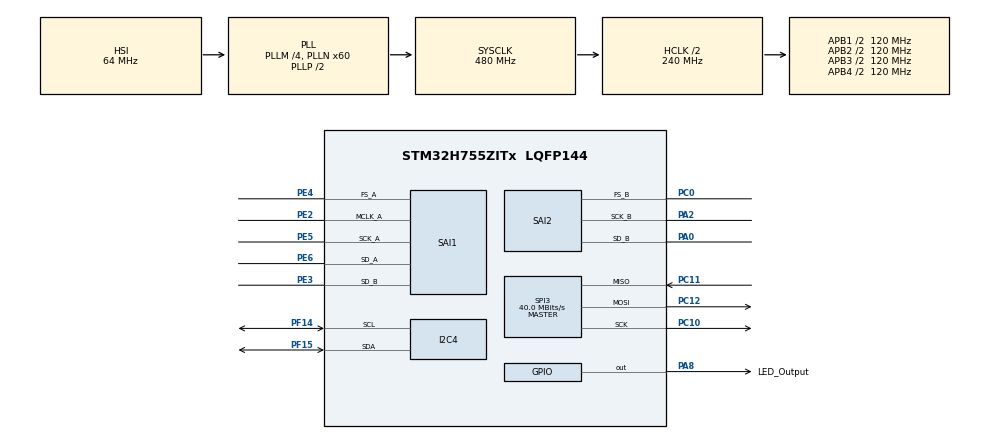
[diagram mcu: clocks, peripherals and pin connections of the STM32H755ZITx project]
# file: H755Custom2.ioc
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CORTEX_M7.default_mode_Activation=1
CortexM4.IPs=BDMA,CORTEX_M4\:I,DMA,FATFS_M4\:I,FREERTOS_M4\:I,GPIO,IWDG2\:I,MDMA,NVIC2\:I,OPENAMP_M4\:I,PDM2PCM_M4\:I,PWR,RCC,RESMGR_UTILITY,SYS_M4\:I,USB_DEVICE_M4\:I,USB_HOST_M4\:I,VREFBUF,WWDG2\:I
CortexM7.IPs=BDMA\:I,CORTEX_M7\:I,DMA\:I,FATFS_M7\:I,FREERTOS_M7\:I,GPIO\:I,IWDG1\:I,MDMA\:I,NVIC1\:I,OPENAMP_M7\:I,PDM2PCM_M7\:I,PWR\:I,RCC\:I,RESMGR_UTILITY\:I,SYS\:I,USB_DEVICE_M7\:I,USB_HOST_M7\:I,VREFBUF\:I,WWDG1\:I,MEMORYMAP\:I,DEBUG\:I,I2C4\:I,SAI1\:I,SPI3\:I,SAI2\:I
CortexM7.Pins=PA8
Dma.Request0=SAI1_B
Dma.Request1=SAI2_B
Dma.Request2=SAI1_A
Dma.SAI1_A.2.Direction=DMA_MEMORY_TO_PERIPH
Dma.SAI1_A.2.EventEnable=DISABLE
Dma.SAI1_A.2.FIFOMode=DMA_FIFOMODE_DISABLE
Dma.SAI1_A.2.Instance=DMA1_Stream2
Dma.SAI1_A.2.MemDataAlignment=DMA_MDATAALIGN_WORD
Dma.SAI1_A.2.MemInc=DMA_MINC_ENABLE
Dma.SAI1_A.2.Mode=DMA_CIRCULAR
Dma.SAI1_A.2.PeriphDataAlignment=DMA_PDATAALIGN_WORD
Dma.SAI1_A.2.PeriphInc=DMA_PINC_DISABLE
Dma.SAI1_A.2.Polarity=HAL_DMAMUX_REQ_GEN_RISING
Dma.SAI1_A.2.Priority=DMA_PRIORITY_HIGH
Dma.SAI1_A.2.RequestNumber=1
Dma.SAI1_A.2.SignalID=NONE
Dma.SAI1_A.2.SyncEnable=DISABLE
Dma.SAI1_A.2.SyncPolarity=HAL_DMAMUX_SYNC_NO_EVENT
Dma.SAI1_A.2.SyncRequestNumber=1
Dma.SAI1_A.2.SyncSignalID=NONE
Dma.SAI1_B.0.Direction=DMA_PERIPH_TO_MEMORY
Dma.SAI1_B.0.EventEnable=DISABLE
Dma.SAI1_B.0.FIFOMode=DMA_FIFOMODE_DISABLE
Dma.SAI1_B.0.Instance=DMA1_Stream0
Dma.SAI1_B.0.MemDataAlignment=DMA_MDATAALIGN_WORD
Dma.SAI1_B.0.MemInc=DMA_MINC_ENABLE
Dma.SAI1_B.0.Mode=DMA_CIRCULAR
Dma.SAI1_B.0.PeriphDataAlignment=DMA_PDATAALIGN_WORD
Dma.SAI1_B.0.PeriphInc=DMA_PINC_DISABLE
Dma.SAI1_B.0.Polarity=HAL_DMAMUX_REQ_GEN_RISING
Dma.SAI1_B.0.Priority=DMA_PRIORITY_HIGH
Dma.SAI1_B.0.RequestNumber=1
Dma.SAI1_B.0.SignalID=NONE
Dma.SAI1_B.0.SyncEnable=DISABLE
Dma.SAI1_B.0.SyncPolarity=HAL_DMAMUX_SYNC_NO_EVENT
Dma.SAI1_B.0.SyncRequestNumber=1
Dma.SAI1_B.0.SyncSignalID=NONE
Dma.SAI2_B.1.Direction=DMA_MEMORY_TO_PERIPH
Dma.SAI2_B.1.EventEnable=DISABLE
Dma.SAI2_B.1.FIFOMode=DMA_FIFOMODE_DISABLE
Dma.SAI2_B.1.Instance=DMA1_Stream1
Dma.SAI2_B.1.MemDataAlignment=DMA_MDATAALIGN_WORD
Dma.SAI2_B.1.MemInc=DMA_MINC_ENABLE
Dma.SAI2_B.1.Mode=DMA_CIRCULAR
Dma.SAI2_B.1.PeriphDataAlignment=DMA_PDATAALIGN_WORD
Dma.SAI2_B.1.PeriphInc=DMA_PINC_DISABLE
Dma.SAI2_B.1.Polarity=HAL_DMAMUX_REQ_GEN_RISING
Dma.SAI2_B.1.Priority=DMA_PRIORITY_HIGH
Dma.SAI2_B.1.RequestNumber=1
Dma.SAI2_B.1.SignalID=NONE
Dma.SAI2_B.1.SyncEnable=DISABLE
Dma.SAI2_B.1.SyncPolarity=HAL_DMAMUX_SYNC_NO_EVENT
Dma.SAI2_B.1.SyncRequestNumber=1
Dma.SAI2_B.1.SyncSignalID=NONE
I2C4.Timing=0x307075B1
Mcu.Family=STM32H7
Mcu.Name=STM32H755ZITx
Mcu.Package=LQFP144
NVIC1.DMA1_Stream0_IRQn=true\:0\:0\:false\:false\:true\:false\:true\:true
NVIC1.DMA1_Stream1_IRQn=true\:0\:0\:false\:false\:true\:false\:true\:true
NVIC1.DMA1_Stream2_IRQn=true\:0\:0\:false\:false\:true\:false\:true\:true
NVIC1.PriorityGroup=NVIC_PRIORITYGROUP_4
NVIC2.PriorityGroup=NVIC_PRIORITYGROUP_4
PA0.GPIO_Speed=GPIO_SPEED_FREQ_HIGH
PA0.Mode=SAI_B_Master
PA0.PinAttribute=CortexM7
PA0.Signal=SAI2_SD_B
PA13\ (JTMS/SWDIO).Mode=Trace_Asynchronous_SW
PA13\ (JTMS/SWDIO).PinAttribute=CortexM7
PA13\ (JTMS/SWDIO).Signal=DEBUG_JTMS-SWDIO
PA14\ (JTCK/SWCLK).Mode=Trace_Asynchronous_SW
PA14\ (JTCK/SWCLK).PinAttribute=CortexM7
PA14\ (JTCK/SWCLK).Signal=DEBUG_JTCK-SWCLK
PA2.GPIO_Speed=GPIO_SPEED_FREQ_HIGH
PA2.Mode=SAI_B_Master
PA2.PinAttribute=CortexM7
PA2.Signal=SAI2_SCK_B
PA8.GPIO_Label=LED_Output
PA8.PinAttribute=CortexM7
PA8.Signal=GPIO_Output
PB3\ (JTDO/TRACESWO).Mode=Trace_Asynchronous_SW
PB3\ (JTDO/TRACESWO).PinAttribute=CortexM7
PB3\ (JTDO/TRACESWO).Signal=DEBUG_JTDO-SWO
PC0.GPIO_Speed=GPIO_SPEED_FREQ_HIGH
PC0.Mode=SAI_B_Master
PC0.PinAttribute=CortexM7
PC0.Signal=SAI2_FS_B
PC10.Mode=Full_Duplex_Master
PC10.PinAttribute=CortexM7
PC10.Signal=SPI3_SCK
PC11.Mode=Full_Duplex_Master
PC11.PinAttribute=CortexM7
PC11.Signal=SPI3_MISO
PC12.Mode=Full_Duplex_Master
PC12.PinAttribute=CortexM7
PC12.Signal=SPI3_MOSI
PC14-OSC32_IN\ (OSC32_IN).Mode=LSE-External-Oscillator
PC14-OSC32_IN\ (OSC32_IN).PinAttribute=Free
PC14-OSC32_IN\ (OSC32_IN).Signal=RCC_OSC32_IN
PC15-OSC32_OUT\ (OSC32_OUT).Mode=LSE-External-Oscillator
PC15-OSC32_OUT\ (OSC32_OUT).PinAttribute=Free
PC15-OSC32_OUT\ (OSC32_OUT).Signal=RCC_OSC32_OUT
PE2.Mode=SAI_A_MasterWithClock
PE2.PinAttribute=CortexM7
PE2.Signal=SAI1_MCLK_A
PE3.Mode=SAI_B_SyncSlave
PE3.PinAttribute=CortexM7
PE3.Signal=SAI1_SD_B
PE4.Mode=SAI_A_MasterWithClock
PE4.PinAttribute=CortexM7
PE4.Signal=SAI1_FS_A
PE5.Mode=SAI_A_MasterWithClock
PE5.PinAttribute=CortexM7
PE5.Signal=SAI1_SCK_A
PE6.Mode=SAI_A_MasterWithClock
PE6.PinAttribute=CortexM7
PE6.Signal=SAI1_SD_A
PF14.GPIO_Pu=GPIO_PULLUP
PF14.GPIO_Speed=GPIO_SPEED_FREQ_HIGH
PF14.Mode=I2C
PF14.PinAttribute=CortexM7
PF14.Signal=I2C4_SCL
PF15.GPIO_Mode=GPIO_MODE_AF_OD
PF15.GPIO_Pu=GPIO_PULLUP
PF15.GPIO_Speed=GPIO_SPEED_FREQ_HIGH
PF15.Mode=I2C
PF15.PinAttribute=CortexM7
PF15.Signal=I2C4_SDA
PH0-OSC_IN\ (PH0).Mode=HSE-External-Oscillator
PH0-OSC_IN\ (PH0).PinAttribute=Free
PH0-OSC_IN\ (PH0).Signal=RCC_OSC_IN
PH1-OSC_OUT\ (PH1).Mode=HSE-External-Oscillator
PH1-OSC_OUT\ (PH1).PinAttribute=Free
PH1-OSC_OUT\ (PH1).Signal=RCC_OSC_OUT
ProjectManager.HeapSize=M4-0x200,M7-0x200
ProjectManager.StackSize=M4-0x400,M7-0x400
ProjectManager.TargetToolchain=STM32CubeIDE
RCC.ADCFreq_Value=12307692.307692308
RCC.APB1Freq_Value=120000000
RCC.APB2Freq_Value=120000000
RCC.APB3Freq_Value=120000000
RCC.APB4Freq_Value=120000000
RCC.CortexFreq_Value=480000000
RCC.D1PPRE=RCC_APB3_DIV2
RCC.D2PPRE1=RCC_APB1_DIV2
RCC.D2PPRE2=RCC_APB2_DIV2
RCC.D3PPRE=RCC_APB4_DIV2
RCC.DIVM1=4
RCC.DIVM2=4
RCC.DIVM3=4
RCC.DIVN1=60
RCC.DIVN2=60
RCC.DIVN3=10
RCC.DIVP2=78
RCC.HCLKFreq_Value=240000000
RCC.HPRE=RCC_HCLK_DIV2
RCC.HSE_VALUE=32000000
RCC.PLL2FRACN=0
RCC.PLLFRACN=0
RCC.SAI1CLockSelection=RCC_SAI1CLKSOURCE_PLL2
RCC.SAI23CLockSelection=RCC_SAI23CLKSOURCE_PLL2
RCC.SPI123CLockSelection=RCC_SPI123CLKSOURCE_PLL3
RCC.SYSCLKFreq_VALUE=480000000
RCC.SYSCLKSource=RCC_SYSCLKSOURCE_PLLCLK
RCC.USBFreq_Value=480000000
SAI1.ActiveFrameLength-SAI_A_MasterWithClock=128
SAI1.ActiveFrameLength-SAI_B_SyncSlave=128
SAI1.AudioFrequency-SAI_A_MasterWithClock=SAI_AUDIO_FREQUENCY_48K
SAI1.AudioMode-SAI_A_MasterWithClock=SAI_MODEMASTER_TX
SAI1.DataSize-SAI_A_MasterWithClock=SAI_DATASIZE_32
SAI1.DataSize-SAI_B_SyncSlave=SAI_DATASIZE_32
SAI1.ErrorAudioFreq-SAI_A_MasterWithClock=0.15 %
SAI1.FrameLength-SAI_A_MasterWithClock=256
SAI1.FrameLength-SAI_B_SyncSlave=256
SAI1.Instance-SAI_A_MasterWithClock=SAI$Index_Block_A
SAI1.Instance-SAI_B_SyncSlave=SAI$Index_Block_B
SAI1.MClockEnable-SAI_A_MasterWithClock=SAI_MASTERCLOCK_ENABLE
SAI1.MonoStereoMode-SAI_A_MasterWithClock=SAI_STEREOMODE
SAI1.RealAudioFreq-SAI_A_MasterWithClock=48.076 KHz
SAI1.SlotActive-SAI_A_MasterWithClock=0x0000FFFF
SAI1.SlotActive-SAI_B_SyncSlave=0x0000FFFF
SAI1.SlotNumber-SAI_A_MasterWithClock=8
SAI1.SlotNumber-SAI_B_SyncSlave=8
SAI1.VirtualMode-SAI_A_MasterWithClock=VM_MASTER
SAI1.VirtualMode-SAI_B_SyncSlave=VM_SLAVE
SAI1.VirtualSlotActive-SAI_A_MasterWithClock=SAI_SLOTACTIVE_ALL
SAI1.VirtualSlotActive-SAI_B_SyncSlave=SAI_SLOTACTIVE_ALL
SAI2.ActiveFrameLength-SAI_B_Master=16
SAI2.AudioFrequency-SAI_B_Master=SAI_AUDIO_FREQUENCY_48K
SAI2.DataSize-SAI_B_Master=SAI_DATASIZE_16
SAI2.ErrorAudioFreq-SAI_B_Master=0.15 %
SAI2.FSDefinition-SAI_B_Master=SAI_FS_CHANNEL_IDENTIFICATION
SAI2.FSPolarity-SAI_B_Master=SAI_FS_ACTIVE_HIGH
SAI2.FrameLength-SAI_B_Master=32
SAI2.Instance-SAI_B_Master=SAI$Index_Block_B
SAI2.MClockEnable-SAI_B_Master=SAI_MASTERCLOCK_DISABLE
SAI2.RealAudioFreq-SAI_B_Master=48.076 KHz
SAI2.SlotActive-SAI_B_Master=0x0000FFFF
SAI2.SlotNumber-SAI_B_Master=2
SAI2.VirtualMode-SAI_B_Master=VM_MASTER
SAI2.VirtualSlotActive-SAI_B_Master=SAI_SLOTACTIVE_ALL
SPI3.CalculateBaudRate=40.0 MBits/s
SPI3.Direction=SPI_DIRECTION_2LINES
SPI3.Mode=SPI_MODE_MASTER
SPI3.VirtualType=VM_MASTER
SYS.userName=SYS_M7
VP_MEMORYMAP_VS_MEMORYMAP.Mode=CurAppReg
VP_SYS_M4_VS_Systick.Mode=SysTick
board=custom

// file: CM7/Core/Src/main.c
/* USER CODE BEGIN Header */
/**
  ******************************************************************************
  * @file           : main.c
  * @brief          : Main program body
  ******************************************************************************
  * @attention
  *
  * Copyright (c) 2025 STMicroelectronics.
  * All rights reserved.
  *
  * This software is licensed under terms that can be found in the LICENSE file
  * in the root directory of this software component.
  * If no LICENSE file comes with this software, it is provided AS-IS.
  *
  ******************************************************************************
  */
/* USER CODE END Header */
#include "main.h"

/* USER CODE BEGIN Includes */
#include "stdio.h"

/* USER CODE END Includes */

/* USER CODE BEGIN PD */

#ifndef HSEM_ID_0
#define HSEM_ID_0 (0U) /* HW semaphore 0*/
#endif

#define PCM1865_Reg_Size 128
#define AUDIO_BUFFER_SIZE  256

#define PCM1865_I2C_ADDR   (0x4A << 1)   // Adjust this based on your hardware strap
#define PCM1865_I2C_ADDR_2   (0x4B << 1)   // Adjust this based on your hardware strap
#define SINE_SAMPLES 48

#define PCM1865_RESET               (0x00)
#define PCM1865_PGA_VAL_CH1_L       (0x01)
#define PCM1865_PGA_VAL_CH1_R       (0x02)
#define PCM1865_PGA_VAL_CH2_L       (0x03)
#define PCM1865_PGA_VAL_CH2_R       (0x04)
#define PCM1865_ADC2_IP_SEL_L       (0x08) // Select input to route to ADC2 left input.
#define PCM1865_ADC2_IP_SEL_R       (0x09) // Select input to route to ADC2 right input.
#define PCM1865_FMT                 (0x0B) // RX_WLEN, TDM_LRCLK_MODE, TX_WLEN, FMT
#define PCM1865_TDM_OSEL            (0x0C)
#define PCM1865_TX_TDM_OFFSET       (0x0D)
#define PCM1865_CLK_CFG0            (0x20) // Basic clock config.
#define PCM1865_PWR_STATE           (0x70) // Power down, Sleep, Standby

// Global buffer to capture ADC data from SAI
uint32_t audioRxBuffer[AUDIO_BUFFER_SIZE];
/* USER CODE END PD */

I2C_HandleTypeDef hi2c4;

SAI_HandleTypeDef hsai_BlockA1;
SAI_HandleTypeDef hsai_BlockB1;
SAI_HandleTypeDef hsai_BlockB2;
DMA_HandleTypeDef hdma_sai1_b;
DMA_HandleTypeDef hdma_sai1_a;
DMA_HandleTypeDef hdma_sai2_b;

SPI_HandleTypeDef hspi3;

void SystemClock_Config(void);
void PeriphCommonClock_Config(void);
static void MPU_Config(void);
static void MX_GPIO_Init(void);
static void MX_DMA_Init(void);
static void MX_I2C4_Init(void);
static void MX_SAI1_Init(void);
static void MX_SPI3_Init(void);
static void MX_SAI2_Init(void);

/* USER CODE BEGIN 0 */

int _write(int le, char *ptr, int len)
    {
    int DataIdx;
    for(DataIdx = 0; DataIdx < len; DataIdx++)
        {
        ITM_SendChar(*ptr++);
        }
    return len;
    }

// Stereo 16-bit, so total array size = SINE_SAMPLES * 2
int16_t sineTable[SINE_SAMPLES * 2];

void GenerateSineWave(void)
{
    float amplitude = 30000.0f;   // ~90% of int16 range
    float twoPi = 2.0f * (float)M_PI;
    float phaseIncrement = twoPi / (float)SINE_SAMPLES;

    for (int i = 0; i < SINE_SAMPLES; i++)
    {
        float angle = phaseIncrement * i;
        float sampleValue = sinf(angle) * amplitude;
        int16_t sample = (int16_t)(sampleValue);

        // Write same sample to Left and Right channels
        sineTable[i*2 + 0] = sample;  // Left
        sineTable[i*2 + 1] = sample;  // Right
//        printf("%i\r", sample);
    }
}

HAL_StatusTypeDef ADC_INIT() {
	HAL_StatusTypeDef status;

	uint8_t regRead1, regRead2;

	uint8_t reset = 0xFE;
	status = HAL_I2C_Mem_Write(&hi2c4, // reset
            PCM1865_I2C_ADDR_2,     // 7-bit device address << 1
            0x00,                 // Register 0x00 is the page-select register
            I2C_MEMADD_SIZE_8BIT,
            &reset,
            1,                    // Writing 1 byte
            100);
	status = HAL_I2C_Mem_Write(&hi2c4, // Reset
	            PCM1865_I2C_ADDR,     // 7-bit device address << 1
	            0x00,                 // Register 0x00 is the page-select register
	            I2C_MEMADD_SIZE_8BIT,
	            &reset,
	            1,                    // Writing 1 byte
	            100);
	status = HAL_I2C_Mem_Read(&hi2c4, // Read
	            PCM1865_I2C_ADDR,     // 7-bit device address << 1
	            0x00,                 // Register 0x00 is the page-select register
	            I2C_MEMADD_SIZE_8BIT,
	            &regRead1,
	            1,                    // Writing 1 byte
	            100);

	status = HAL_I2C_Mem_Read(&hi2c4, // Read
		            PCM1865_I2C_ADDR_2,     // 7-bit device address << 1
		            0x00,                 // Register 0x00 is the page-select register
		            I2C_MEMADD_SIZE_8BIT,
		            &regRead2,
		            1,                    // Writing 1 byte
		            100);

	printf("page register 1: %x\r\n", regRead1);
	printf("page register 2: %x\r\n", regRead2);

	uint8_t adc_select_2 = 0x42; // 0x08

	status = HAL_I2C_Mem_Write(&hi2c4, // Set ADC2 source
	            PCM1865_I2C_ADDR,     // 7-bit device address << 1
				PCM1865_ADC2_IP_SEL_L,                 // Register 0x00 is the page-select register
	            I2C_MEMADD_SIZE_8BIT,
	            &adc_select_2,
	            1,                    // Writing 1 byte
	            100);
	status = HAL_I2C_Mem_Write(&hi2c4,
		            PCM1865_I2C_ADDR_2,     // 7-bit device address << 1
					PCM1865_ADC2_IP_SEL_L,                 // Register 0x00 is the page-select register
		            I2C_MEMADD_SIZE_8BIT,
		            &adc_select_2,
		            1,                    // Writing 1 byte
		            100);

	status = HAL_I2C_Mem_Read(&hi2c4, // Set ADC2 source
		            PCM1865_I2C_ADDR,     // 7-bit device address << 1
					PCM1865_ADC2_IP_SEL_L,                 // Register 0x00 is the page-select register
		            I2C_MEMADD_SIZE_8BIT,
		            &regRead1,
		            1,                    // Writing 1 byte
		            100);
		status = HAL_I2C_Mem_Read(&hi2c4,
			            PCM1865_I2C_ADDR_2,     // 7-bit device address << 1
						PCM1865_ADC2_IP_SEL_L,                 // Register 0x00 is the page-select register
			            I2C_MEMADD_SIZE_8BIT,
			            &regRead2,
			            1,                    // Writing 1 byte
			            100);

		printf("adc2 input select 1: %x\r\n", regRead1);
			printf("adc2 input select 2: %x\r\n", regRead2);

	uint8_t tdm_offset_1 = 0;
	uint8_t tdm_offset_2 = 128;

	status = HAL_I2C_Mem_Write(&hi2c4, // Set TDM offset
		            PCM1865_I2C_ADDR,     // 7-bit device address << 1
					PCM1865_TX_TDM_OFFSET ,                 // Register 0x00 is the page-select register
		            I2C_MEMADD_SIZE_8BIT,
		            &tdm_offset_1,
		            1,                    // Writing 1 byte
		            100);

	status = HAL_I2C_Mem_Write(&hi2c4,
					PCM1865_I2C_ADDR_2,     // 7-bit device address << 1
					PCM1865_TX_TDM_OFFSET ,                 // Register 0x00 is the page-select register
					I2C_MEMADD_SIZE_8BIT,
					&tdm_offset_2,
					1,                    // Writing 1 byte
					100);

	status = HAL_I2C_Mem_Read(&hi2c4, // Set TDM offset
		            PCM1865_I2C_ADDR,     // 7-bit device address << 1
					PCM1865_TX_TDM_OFFSET ,                 // Register 0x00 is the page-select register
		            I2C_MEMADD_SIZE_8BIT,
		            &regRead1,
		            1,                    // Writing 1 byte
		            100);

	status = HAL_I2C_Mem_Read(&hi2c4,
					PCM1865_I2C_ADDR_2,     // 7-bit device address << 1
					PCM1865_TX_TDM_OFFSET ,                 // Register 0x00 is the page-select register
					I2C_MEMADD_SIZE_8BIT,
					&regRead2,
					1,                    // Writing 1 byte
					100);

	printf("tdm offset select 1: %x\r\n", regRead1);
	printf("tdm offset select 2: %x\r\n", regRead2);

	uint8_t tdm_mode = 0x43;

	status = HAL_I2C_Mem_Write(&hi2c4, // Set TDM mode, 0x0B
			            PCM1865_I2C_ADDR,     // 7-bit device address << 1
						PCM1865_FMT,                 // Register 0x00 is the page-select register
			            I2C_MEMADD_SIZE_8BIT,
			            &tdm_mode,
			            1,                    // Writing 1 byte
			            100);
	status = HAL_I2C_Mem_Write(&hi2c4,
					PCM1865_I2C_ADDR_2,     // 7-bit device address << 1
					PCM1865_FMT,                 // Register 0x00 is the page-select register
					I2C_MEMADD_SIZE_8BIT,
					&tdm_mode,
					1,                    // Writing 1 byte
					100);

	uint8_t tdm_channels = 1;   // 0x0C

	status = HAL_I2C_Mem_Write(&hi2c4, // Set 4 channel TDM
				            PCM1865_I2C_ADDR,     // 7-bit device address << 1
							PCM1865_TDM_OSEL,                 // Register 0x00 is the page-select register
				            I2C_MEMADD_SIZE_8BIT,
				            &tdm_channels,
				            1,                    // Writing 1 byte
				            100);
	status = HAL_I2C_Mem_Write(&hi2c4,
					PCM1865_I2C_ADDR_2,     // 7-bit device address << 1
					PCM1865_TDM_OSEL ,                 // Register 0x00 is the page-select register
					I2C_MEMADD_SIZE_8BIT,
					&tdm_channels,
					1,                    // Writing 1 byte
					100);

	uint8_t clock_config = 0x01; // Set clock config to auto

		status = HAL_I2C_Mem_Write(&hi2c4,
					            PCM1865_I2C_ADDR,     // 7-bit device address << 1
								PCM1865_CLK_CFG0,                 // Register 0x00 is the page-select register
					            I2C_MEMADD_SIZE_8BIT,
					            &clock_config,
					            1,                    // Writing 1 byte
					            100);
		status = HAL_I2C_Mem_Write(&hi2c4,
						PCM1865_I2C_ADDR_2,     // 7-bit device address << 1
						PCM1865_CLK_CFG0 ,                 // Register 0x00 is the page-select register
						I2C_MEMADD_SIZE_8BIT,
						&clock_config,
						1,                    // Writing 1 byte
						100);

		status = HAL_I2C_Mem_Read(&hi2c4, // Read
				            PCM1865_I2C_ADDR,     // 7-bit device address << 1
							PCM1865_CLK_CFG0,                 // Register 0x00 is the page-select register
				            I2C_MEMADD_SIZE_8BIT,
				            &regRead1,
				            1,                    // Writing 1 byte
				            100);

	status = HAL_I2C_Mem_Read(&hi2c4, // Read
		            PCM1865_I2C_ADDR_2,     // 7-bit device address << 1
					PCM1865_CLK_CFG0,                 // Register 0x00 is the page-select register
		            I2C_MEMADD_SIZE_8BIT,
		            &regRead2,
		            1,                    // Writing 1 byte
		            100);
	printf("adc init complete\r\n");
	printf("clk config1 (hex): %x\r\n", regRead1);
	printf("clk config2 (hex): %x\r\n", regRead2);

	return status;

}

// Buffers to store register values
uint8_t PCM1865_0_Reg[PCM1865_Reg_Size];
uint8_t PCM1865_1_Reg[PCM1865_Reg_Size];

// Variables to store extracted register values
uint8_t PLL_Locked_0;
uint8_t PLL_Locked_1;
uint8_t SYS_Status_0;
uint8_t SYS_Status_1;
uint8_t SampleRate_0;
uint8_t SampleRate_1;
uint8_t BCKRate_0;
uint8_t BCKRate_1;
uint8_t SCKRate_0;
uint8_t SCKRate_1;
uint8_t ERROR_0;
uint8_t ERROR_1;
uint8_t PWR_Status_0;
uint8_t PWR_Status_1;

void read_pcm1865_registers(void) {
    HAL_StatusTypeDef status;

    // Read all registers from both PCM1865 devices
    for (int Offset = 0; Offset < 128; Offset++) {
        status = HAL_I2C_Mem_Read(&hi2c4, PCM1865_I2C_ADDR, Offset, 1, &PCM1865_0_Reg[Offset], 1, HAL_MAX_DELAY);
        if (status != HAL_OK) {
            // Handle error for PCM1865_0 (e.g., printf, error flag)
            printf("Error reading PCM1865_0 register %d\r\n", Offset);
            // ... error handling ...
        }

        status = HAL_I2C_Mem_Read(&hi2c4, PCM1865_I2C_ADDR_2, Offset, 1, &PCM1865_1_Reg[Offset], 1, HAL_MAX_DELAY);
        if (status != HAL_OK) {
            // Handle error for PCM1865_1 (e.g., printf, error flag)
            printf("Error reading PCM1865_1 register %d\r\n", Offset);
            // ... error handling ...
        }
    }

    // Extract specific register values
    PLL_Locked_0 = PCM1865_0_Reg[40] >> 4; // PLL locked
    PLL_Locked_1 = PCM1865_1_Reg[40] >> 4;

    SYS_Status_0 = PCM1865_0_Reg[114]; // System status
    SYS_Status_1 = PCM1865_1_Reg[114];

    SampleRate_0 = PCM1865_0_Reg[115]; // Sample rate
    SampleRate_1 = PCM1865_1_Reg[115];

    BCKRate_0 = PCM1865_0_Reg[116] >> 4; // BCK rate
    BCKRate_1 = PCM1865_1_Reg[116] >> 4;

    SCKRate_0 = PCM1865_0_Reg[116] & 0x0F; // SCK Rate
    SCKRate_1 = PCM1865_1_Reg[116] & 0x0F;

    ERROR_0 = PCM1865_0_Reg[117]; // Error code
    ERROR_1 = PCM1865_1_Reg[117];

    PWR_Status_0 = PCM1865_0_Reg[120]; // Power status
    PWR_Status_1 = PCM1865_1_Reg[120];

    // Print the extracted values
       printf("PLL_Locked_0: %d\r\n", PLL_Locked_0);
       printf("PLL_Locked_1: %d\r\n", PLL_Locked_1);
       printf("SYS_Status_0: %d\r\n", SYS_Status_0);
       printf("SYS_Status_1: %d\r\n", SYS_Status_1);
       printf("SampleRate_0: %d\r\n", SampleRate_0);
       printf("SampleRate_1: %d\r\n", SampleRate_1);
       printf("BCKRate_0: %d\r\n", BCKRate_0);
       printf("BCKRate_1: %d\r\n", BCKRate_1);
       printf("SCKRate_0: %d\r\n", SCKRate_0);
       printf("SCKRate_1: %d\r\n", SCKRate_1);
       printf("ERROR_0: %d\r\n", ERROR_0);
       printf("ERROR_1: %d\r\n", ERROR_1);
       printf("PWR_Status_0: %d\r\n", PWR_Status_0);
       printf("PWR_Status_1: %d\r\n", PWR_Status_1);

    // You can now use the extracted values (e.g., print them, use them for logic)
    // Example: printf("PLL_Locked_0: %d\r\n", PLL_Locked_0);
}

//HAL_StatusTypeDef write_ADC_registers();

volatile uint8_t bufferFull = 0;

void HAL_SAI_RxCpltCallback(SAI_HandleTypeDef *hsai)
{
    // This callback is invoked when the DMA finishes a full buffer transfer.
    // You can process the data here, or set a flag for your main loop.
    printf("Full buffer received\r\n");
    bufferFull = 1;
    for (int i = 0; i < AUDIO_BUFFER_SIZE; i++)
          {
              printf("Sample %d: %u\r\n", i, audioRxBuffer[i]);
          }

    HAL_SAI_DMAPause(&hsai_BlockB1);
}

void HAL_SAI_RxHalfCpltCallback(SAI_HandleTypeDef *hsai)
{
    // Called at half buffer, useful for double-buffered processing.
//    printf("Half buffer received\r\n");
}
/* USER CODE END 0 */

int main(void)
{

/* USER CODE BEGIN Boot_Mode_Sequence_0 */
  int32_t timeout;
/* USER CODE END Boot_Mode_Sequence_0 */

  /* MPU Configuration--------------------------------------------------------*/
  MPU_Config();

/* USER CODE BEGIN Boot_Mode_Sequence_1 */
  /* Wait until CPU2 boots and enters in stop mode or timeout*/
  timeout = 0xFFFF;
  while((__HAL_RCC_GET_FLAG(RCC_FLAG_D2CKRDY) != RESET) && (timeout-- > 0));
//  if ( timeout < 0 )
//  {
//  Error_Handler();
//  }
/* USER CODE END Boot_Mode_Sequence_1 */
  /* MCU Configuration--------------------------------------------------------*/

  /* Reset of all peripherals, Initializes the Flash interface and the Systick. */
  HAL_Init();

  /* Configure the system clock */
  SystemClock_Config();

  /* Configure the peripherals common clocks */
  PeriphCommonClock_Config();
/* USER CODE BEGIN Boot_Mode_Sequence_2 */
/* When system initialization is finished, Cortex-M7 will release Cortex-M4 by means of
HSEM notification */
/*HW semaphore Clock enable*/
__HAL_RCC_HSEM_CLK_ENABLE();
/*Take HSEM */
HAL_HSEM_FastTake(HSEM_ID_0);
/*Release HSEM in order to notify the CPU2(CM4)*/
HAL_HSEM_Release(HSEM_ID_0,0);
/* wait until CPU2 wakes up from stop mode */
timeout = 0xFFFF;
//while((__HAL_RCC_GET_FLAG(RCC_FLAG_D2CKRDY) == RESET) && (timeout-- > 0));
//if ( timeout < 0 )
//{
//Error_Handler();
//}
/* USER CODE END Boot_Mode_Sequence_2 */

  /* Initialize all configured peripherals */
  MX_GPIO_Init();
  MX_DMA_Init();
  MX_I2C4_Init();
  MX_SAI1_Init();
  MX_SPI3_Init();
  MX_SAI2_Init();
  /* USER CODE BEGIN 2 */
	ADC_INIT();

  int number = 0;
  /* USER CODE END 2 */

  /* Infinite loop */
  /* USER CODE BEGIN WHILE */
  uint8_t regData;
  uint8_t pageVal = 0;  // Suppose we want Page 3
  HAL_StatusTypeDef status2;
  status2 = HAL_I2C_Mem_Read(&hi2c4,
                    PCM1865_I2C_ADDR,     // 7-bit device address << 1
                    0x00,                 // Register 0x00 is the page-select register
                    I2C_MEMADD_SIZE_8BIT,
                    &regData,
                    1,                    // Writing 1 byte
                    100);

  status2 = HAL_I2C_Mem_Read(&hi2c4,
                      PCM1865_I2C_ADDR_2,     // 7-bit device address << 1
                      0x00,                 // Register 0x00 is the page-select register
                      I2C_MEMADD_SIZE_8BIT,
                      &regData,
                      1,                    // Writing 1 byte
                      100);

  GenerateSineWave();
  uint32_t error = 0;

  static uint16_t dummyData[2] = {3, 3};
  if (HAL_SAI_Transmit_DMA(&hsai_BlockA1, &dummyData, 2) != HAL_OK)
        {
            // Handle error if needed
  	  	  printf("HAL_SAI_Transmit_DMA failed A1\r\n");
  	  	  error = HAL_SAI_GetError(&hsai_BlockA1);
        }
  if (HAL_SAI_Receive_DMA(&hsai_BlockB1, &audioRxBuffer, AUDIO_BUFFER_SIZE) != HAL_OK)
      {
          // Handle error if needed
	  	  printf("HAL_SAI_Transmit_DMA failed B1\r\n");
	  	  error = HAL_SAI_GetError(&hsai_BlockB1);
      }
  if (HAL_SAI_Transmit_DMA(&hsai_BlockB2, (uint8_t*)sineTable, SINE_SAMPLES * 2) != HAL_OK)
      {
          // Handle error (e.g., call Error_Handler())
          printf("HAL_SAI_Transmit_DMA failed\r\n");
//          error = HAL_SAI_GetError(&hsai_BlockB2);

//          while(1);
      }
//
//  while (bufferFull == 0)
//      {
//          // Optionally, you could put the MCU to sleep or toggle an LED here.
//      }
//
//      // Optionally, if using circular DMA, abort reception to stop further transfers:
//      HAL_SAI_DMAPause(&hsai_BlockB1);

      // At this point, audioRxBuffer contains the full set of samples.
      // For example, print out the received values over UART:
//      for (int i = 0; i < AUDIO_BUFFER_SIZE; i++)
//      {
//          printf("Sample %d: %u\r\n", i, audioRxBuffer[i]);
//      }

  read_pcm1865_registers();
  while (1)
  {
    /* USER CODE END WHILE */
	  printf("testing\r\n");
	  HAL_Delay(5000);
	  for (int i = 0; i < AUDIO_BUFFER_SIZE; i++)
	            {
	                printf("Sample %d: %u\r\n", i, audioRxBuffer[i]);
	            }
  }
}

void SystemClock_Config(void)
{
  RCC_OscInitTypeDef RCC_OscInitStruct = {0};
  RCC_ClkInitTypeDef RCC_ClkInitStruct = {0};

  /** Supply configuration update enable
  */
  HAL_PWREx_ConfigSupply(PWR_LDO_SUPPLY);

  /** Configure the main internal regulator output voltage
  */
  __HAL_PWR_VOLTAGESCALING_CONFIG(PWR_REGULATOR_VOLTAGE_SCALE0);

  while(!__HAL_PWR_GET_FLAG(PWR_FLAG_VOSRDY)) {}

  /** Initializes the RCC Oscillators according to the specified parameters
  * in the RCC_OscInitTypeDef structure.
  */
  RCC_OscInitStruct.OscillatorType = RCC_OSCILLATORTYPE_HSI;
  RCC_OscInitStruct.HSIState = RCC_HSI_DIV1;
  RCC_OscInitStruct.HSICalibrationValue = RCC_HSICALIBRATION_DEFAULT;
  RCC_OscInitStruct.PLL.PLLState = RCC_PLL_ON;
  RCC_OscInitStruct.PLL.PLLSource = RCC_PLLSOURCE_HSI;
  RCC_OscInitStruct.PLL.PLLM = 4;
  RCC_OscInitStruct.PLL.PLLN = 60;
  RCC_OscInitStruct.PLL.PLLP = 2;
  RCC_OscInitStruct.PLL.PLLQ = 2;
  RCC_OscInitStruct.PLL.PLLR = 2;
  RCC_OscInitStruct.PLL.PLLRGE = RCC_PLL1VCIRANGE_3;
  RCC_OscInitStruct.PLL.PLLVCOSEL = RCC_PLL1VCOWIDE;
  RCC_OscInitStruct.PLL.PLLFRACN = 0;
  if (HAL_RCC_OscConfig(&RCC_OscInitStruct) != HAL_OK)
  {
    Error_Handler();
  }

  /** Initializes the CPU, AHB and APB buses clocks
  */
  RCC_ClkInitStruct.ClockType = RCC_CLOCKTYPE_HCLK|RCC_CLOCKTYPE_SYSCLK
                              |RCC_CLOCKTYPE_PCLK1|RCC_CLOCKTYPE_PCLK2
                              |RCC_CLOCKTYPE_D3PCLK1|RCC_CLOCKTYPE_D1PCLK1;
  RCC_ClkInitStruct.SYSCLKSource = RCC_SYSCLKSOURCE_PLLCLK;
  RCC_ClkInitStruct.SYSCLKDivider = RCC_SYSCLK_DIV1;
  RCC_ClkInitStruct.AHBCLKDivider = RCC_HCLK_DIV2;
  RCC_ClkInitStruct.APB3CLKDivider = RCC_APB3_DIV2;
  RCC_ClkInitStruct.APB1CLKDivider = RCC_APB1_DIV2;
  RCC_ClkInitStruct.APB2CLKDivider = RCC_APB2_DIV2;
  RCC_ClkInitStruct.APB4CLKDivider = RCC_APB4_DIV2;

  if (HAL_RCC_ClockConfig(&RCC_ClkInitStruct, FLASH_LATENCY_4) != HAL_OK)
  {
    Error_Handler();
  }
}

void PeriphCommonClock_Config(void)
{
  RCC_PeriphCLKInitTypeDef PeriphClkInitStruct = {0};

  /** Initializes the peripherals clock
  */
  PeriphClkInitStruct.PeriphClockSelection = RCC_PERIPHCLK_SAI1|RCC_PERIPHCLK_SAI2;
  PeriphClkInitStruct.PLL2.PLL2M = 4;
  PeriphClkInitStruct.PLL2.PLL2N = 60;
  PeriphClkInitStruct.PLL2.PLL2P = 78;
  PeriphClkInitStruct.PLL2.PLL2Q = 2;
  PeriphClkInitStruct.PLL2.PLL2R = 2;
  PeriphClkInitStruct.PLL2.PLL2RGE = RCC_PLL2VCIRANGE_3;
  PeriphClkInitStruct.PLL2.PLL2VCOSEL = RCC_PLL2VCOWIDE;
  PeriphClkInitStruct.PLL2.PLL2FRACN = 0;
  PeriphClkInitStruct.Sai1ClockSelection = RCC_SAI1CLKSOURCE_PLL2;
  PeriphClkInitStruct.Sai23ClockSelection = RCC_SAI23CLKSOURCE_PLL2;
  if (HAL_RCCEx_PeriphCLKConfig(&PeriphClkInitStruct) != HAL_OK)
  {
    Error_Handler();
  }
}

static void MX_I2C4_Init(void)
{

  hi2c4.Instance = I2C4;
  hi2c4.Init.Timing = 0x307075B1;
  hi2c4.Init.OwnAddress1 = 0;
  hi2c4.Init.AddressingMode = I2C_ADDRESSINGMODE_7BIT;
  hi2c4.Init.DualAddressMode = I2C_DUALADDRESS_DISABLE;
  hi2c4.Init.OwnAddress2 = 0;
  hi2c4.Init.OwnAddress2Masks = I2C_OA2_NOMASK;
  hi2c4.Init.GeneralCallMode = I2C_GENERALCALL_DISABLE;
  hi2c4.Init.NoStretchMode = I2C_NOSTRETCH_DISABLE;
  if (HAL_I2C_Init(&hi2c4) != HAL_OK)
  {
    Error_Handler();
  }

  /** Configure Analogue filter
  */
  if (HAL_I2CEx_ConfigAnalogFilter(&hi2c4, I2C_ANALOGFILTER_ENABLE) != HAL_OK)
  {
    Error_Handler();
  }

  /** Configure Digital filter
  */
  if (HAL_I2CEx_ConfigDigitalFilter(&hi2c4, 0) != HAL_OK)
  {
    Error_Handler();
  }

}

static void MX_SAI1_Init(void)
{

  hsai_BlockA1.Instance = SAI1_Block_A;
  hsai_BlockA1.Init.Protocol = SAI_FREE_PROTOCOL;
  hsai_BlockA1.Init.AudioMode = SAI_MODEMASTER_TX;
  hsai_BlockA1.Init.DataSize = SAI_DATASIZE_32;
  hsai_BlockA1.Init.FirstBit = SAI_FIRSTBIT_MSB;
  hsai_BlockA1.Init.ClockStrobing = SAI_CLOCKSTROBING_FALLINGEDGE;
  hsai_BlockA1.Init.Synchro = SAI_ASYNCHRONOUS;
  hsai_BlockA1.Init.OutputDrive = SAI_OUTPUTDRIVE_DISABLE;
  hsai_BlockA1.Init.NoDivider = SAI_MASTERDIVIDER_ENABLE;
  hsai_BlockA1.Init.FIFOThreshold = SAI_FIFOTHRESHOLD_EMPTY;
  hsai_BlockA1.Init.AudioFrequency = SAI_AUDIO_FREQUENCY_48K;
  hsai_BlockA1.Init.SynchroExt = SAI_SYNCEXT_DISABLE;
  hsai_BlockA1.Init.MonoStereoMode = SAI_STEREOMODE;
  hsai_BlockA1.Init.CompandingMode = SAI_NOCOMPANDING;
  hsai_BlockA1.Init.TriState = SAI_OUTPUT_NOTRELEASED;
  hsai_BlockA1.Init.PdmInit.Activation = DISABLE;
  hsai_BlockA1.Init.PdmInit.MicPairsNbr = 1;
  hsai_BlockA1.Init.PdmInit.ClockEnable = SAI_PDM_CLOCK1_ENABLE;
  hsai_BlockA1.FrameInit.FrameLength = 256;
  hsai_BlockA1.FrameInit.ActiveFrameLength = 128;
  hsai_BlockA1.FrameInit.FSDefinition = SAI_FS_STARTFRAME;
  hsai_BlockA1.FrameInit.FSPolarity = SAI_FS_ACTIVE_LOW;
  hsai_BlockA1.FrameInit.FSOffset = SAI_FS_FIRSTBIT;
  hsai_BlockA1.SlotInit.FirstBitOffset = 0;
  hsai_BlockA1.SlotInit.SlotSize = SAI_SLOTSIZE_DATASIZE;
  hsai_BlockA1.SlotInit.SlotNumber = 8;
  hsai_BlockA1.SlotInit.SlotActive = 0x0000FFFF;
  if (HAL_SAI_Init(&hsai_BlockA1) != HAL_OK)
  {
    Error_Handler();
  }
  hsai_BlockB1.Instance = SAI1_Block_B;
  hsai_BlockB1.Init.Protocol = SAI_FREE_PROTOCOL;
  hsai_BlockB1.Init.AudioMode = SAI_MODESLAVE_RX;
  hsai_BlockB1.Init.DataSize = SAI_DATASIZE_32;
  hsai_BlockB1.Init.FirstBit = SAI_FIRSTBIT_MSB;
  hsai_BlockB1.Init.ClockStrobing = SAI_CLOCKSTROBING_FALLINGEDGE;
  hsai_BlockB1.Init.Synchro = SAI_SYNCHRONOUS;
  hsai_BlockB1.Init.OutputDrive = SAI_OUTPUTDRIVE_DISABLE;
  hsai_BlockB1.Init.FIFOThreshold = SAI_FIFOTHRESHOLD_EMPTY;
  hsai_BlockB1.Init.SynchroExt = SAI_SYNCEXT_DISABLE;
  hsai_BlockB1.Init.MonoStereoMode = SAI_STEREOMODE;
  hsai_BlockB1.Init.CompandingMode = SAI_NOCOMPANDING;
  hsai_BlockB1.Init.TriState = SAI_OUTPUT_NOTRELEASED;
  hsai_BlockB1.Init.PdmInit.Activation = DISABLE;
  hsai_BlockB1.Init.PdmInit.MicPairsNbr = 1;
  hsai_BlockB1.Init.PdmInit.ClockEnable = SAI_PDM_CLOCK1_ENABLE;
  hsai_BlockB1.FrameInit.FrameLength = 256;
  hsai_BlockB1.FrameInit.ActiveFrameLength = 128;
  hsai_BlockB1.FrameInit.FSDefinition = SAI_FS_STARTFRAME;
  hsai_BlockB1.FrameInit.FSPolarity = SAI_FS_ACTIVE_LOW;
  hsai_BlockB1.FrameInit.FSOffset = SAI_FS_FIRSTBIT;
  hsai_BlockB1.SlotInit.FirstBitOffset = 0;
  hsai_BlockB1.SlotInit.SlotSize = SAI_SLOTSIZE_DATASIZE;
  hsai_BlockB1.SlotInit.SlotNumber = 8;
  hsai_BlockB1.SlotInit.SlotActive = 0x0000FFFF;
  if (HAL_SAI_Init(&hsai_BlockB1) != HAL_OK)
  {
    Error_Handler();
  }

}

static void MX_SAI2_Init(void)
{

  hsai_BlockB2.Instance = SAI2_Block_B;
  hsai_BlockB2.Init.Protocol = SAI_FREE_PROTOCOL;
  hsai_BlockB2.Init.AudioMode = SAI_MODEMASTER_TX;
  hsai_BlockB2.Init.DataSize = SAI_DATASIZE_16;
  hsai_BlockB2.Init.FirstBit = SAI_FIRSTBIT_MSB;
  hsai_BlockB2.Init.ClockStrobing = SAI_CLOCKSTROBING_FALLINGEDGE;
  hsai_BlockB2.Init.Synchro = SAI_ASYNCHRONOUS;
  hsai_BlockB2.Init.OutputDrive = SAI_OUTPUTDRIVE_DISABLE;
  hsai_BlockB2.Init.NoDivider = SAI_MASTERDIVIDER_ENABLE;
  hsai_BlockB2.Init.FIFOThreshold = SAI_FIFOTHRESHOLD_EMPTY;
  hsai_BlockB2.Init.AudioFrequency = SAI_AUDIO_FREQUENCY_48K;
  hsai_BlockB2.Init.SynchroExt = SAI_SYNCEXT_DISABLE;
  hsai_BlockB2.Init.MonoStereoMode = SAI_STEREOMODE;
  hsai_BlockB2.Init.CompandingMode = SAI_NOCOMPANDING;
  hsai_BlockB2.Init.TriState = SAI_OUTPUT_NOTRELEASED;
  hsai_BlockB2.Init.PdmInit.Activation = DISABLE;
  hsai_BlockB2.Init.PdmInit.MicPairsNbr = 1;
  hsai_BlockB2.Init.PdmInit.ClockEnable = SAI_PDM_CLOCK1_ENABLE;
  hsai_BlockB2.FrameInit.FrameLength = 32;
  hsai_BlockB2.FrameInit.ActiveFrameLength = 16;
  hsai_BlockB2.FrameInit.FSDefinition = SAI_FS_CHANNEL_IDENTIFICATION;
  hsai_BlockB2.FrameInit.FSPolarity = SAI_FS_ACTIVE_HIGH;
  hsai_BlockB2.FrameInit.FSOffset = SAI_FS_FIRSTBIT;
  hsai_BlockB2.SlotInit.FirstBitOffset = 0;
  hsai_BlockB2.SlotInit.SlotSize = SAI_SLOTSIZE_DATASIZE;
  hsai_BlockB2.SlotInit.SlotNumber = 2;
  hsai_BlockB2.SlotInit.SlotActive = 0x0000FFFF;
  if (HAL_SAI_Init(&hsai_BlockB2) != HAL_OK)
  {
    Error_Handler();
  }

}

static void MX_SPI3_Init(void)
{

  /* SPI3 parameter configuration*/
  hspi3.Instance = SPI3;
  hspi3.Init.Mode = SPI_MODE_MASTER;
  hspi3.Init.Direction = SPI_DIRECTION_2LINES;
  hspi3.Init.DataSize = SPI_DATASIZE_4BIT;
  hspi3.Init.CLKPolarity = SPI_POLARITY_LOW;
  hspi3.Init.CLKPhase = SPI_PHASE_1EDGE;
  hspi3.Init.NSS = SPI_NSS_SOFT;
  hspi3.Init.BaudRatePrescaler = SPI_BAUDRATEPRESCALER_2;
  hspi3.Init.FirstBit = SPI_FIRSTBIT_MSB;
  hspi3.Init.TIMode = SPI_TIMODE_DISABLE;
  hspi3.Init.CRCCalculation = SPI_CRCCALCULATION_DISABLE;
  hspi3.Init.CRCPolynomial = 0x0;
  hspi3.Init.NSSPMode = SPI_NSS_PULSE_ENABLE;
  hspi3.Init.NSSPolarity = SPI_NSS_POLARITY_LOW;
  hspi3.Init.FifoThreshold = SPI_FIFO_THRESHOLD_01DATA;
  hspi3.Init.TxCRCInitializationPattern = SPI_CRC_INITIALIZATION_ALL_ZERO_PATTERN;
  hspi3.Init.RxCRCInitializationPattern = SPI_CRC_INITIALIZATION_ALL_ZERO_PATTERN;
  hspi3.Init.MasterSSIdleness = SPI_MASTER_SS_IDLENESS_00CYCLE;
  hspi3.Init.MasterInterDataIdleness = SPI_MASTER_INTERDATA_IDLENESS_00CYCLE;
  hspi3.Init.MasterReceiverAutoSusp = SPI_MASTER_RX_AUTOSUSP_DISABLE;
  hspi3.Init.MasterKeepIOState = SPI_MASTER_KEEP_IO_STATE_DISABLE;
  hspi3.Init.IOSwap = SPI_IO_SWAP_DISABLE;
  if (HAL_SPI_Init(&hspi3) != HAL_OK)
  {
    Error_Handler();
  }

}

static void MX_DMA_Init(void)
{

  /* DMA controller clock enable */
  __HAL_RCC_DMA1_CLK_ENABLE();

  /* DMA interrupt init */
  /* DMA1_Stream0_IRQn interrupt configuration */
  HAL_NVIC_SetPriority(DMA1_Stream0_IRQn, 0, 0);
  HAL_NVIC_EnableIRQ(DMA1_Stream0_IRQn);
  /* DMA1_Stream1_IRQn interrupt configuration */
  HAL_NVIC_SetPriority(DMA1_Stream1_IRQn, 0, 0);
  HAL_NVIC_EnableIRQ(DMA1_Stream1_IRQn);
  /* DMA1_Stream2_IRQn interrupt configuration */
  HAL_NVIC_SetPriority(DMA1_Stream2_IRQn, 0, 0);
  HAL_NVIC_EnableIRQ(DMA1_Stream2_IRQn);

}

static void MX_GPIO_Init(void)
{
  GPIO_InitTypeDef GPIO_InitStruct = {0};

  /* GPIO Ports Clock Enable */
  __HAL_RCC_GPIOE_CLK_ENABLE();
  __HAL_RCC_GPIOC_CLK_ENABLE();
  __HAL_RCC_GPIOA_CLK_ENABLE();
  __HAL_RCC_GPIOF_CLK_ENABLE();
  __HAL_RCC_GPIOB_CLK_ENABLE();

  /*Configure GPIO pin Output Level */
  HAL_GPIO_WritePin(LED_Output_GPIO_Port, LED_Output_Pin, GPIO_PIN_RESET);

  /*Configure GPIO pin : LED_Output_Pin */
  GPIO_InitStruct.Pin = LED_Output_Pin;
  GPIO_InitStruct.Mode = GPIO_MODE_OUTPUT_PP;
  GPIO_InitStruct.Pull = GPIO_NOPULL;
  GPIO_InitStruct.Speed = GPIO_SPEED_FREQ_LOW;
  HAL_GPIO_Init(LED_Output_GPIO_Port, &GPIO_InitStruct);

}

 /* MPU Configuration */

void MPU_Config(void)
{
  MPU_Region_InitTypeDef MPU_InitStruct = {0};

  /* Disables the MPU */
  HAL_MPU_Disable();

  /** Initializes and configures the Region and the memory to be protected
  */
  MPU_InitStruct.Enable = MPU_REGION_ENABLE;
  MPU_InitStruct.Number = MPU_REGION_NUMBER0;
  MPU_InitStruct.BaseAddress = 0x0;
  MPU_InitStruct.Size = MPU_REGION_SIZE_4GB;
  MPU_InitStruct.SubRegionDisable = 0x87;
  MPU_InitStruct.TypeExtField = MPU_TEX_LEVEL0;
  MPU_InitStruct.AccessPermission = MPU_REGION_NO_ACCESS;
  MPU_InitStruct.DisableExec = MPU_INSTRUCTION_ACCESS_DISABLE;
  MPU_InitStruct.IsShareable = MPU_ACCESS_SHAREABLE;
  MPU_InitStruct.IsCacheable = MPU_ACCESS_NOT_CACHEABLE;
  MPU_InitStruct.IsBufferable = MPU_ACCESS_NOT_BUFFERABLE;

  HAL_MPU_ConfigRegion(&MPU_InitStruct);
  /* Enables the MPU */
  HAL_MPU_Enable(MPU_PRIVILEGED_DEFAULT);

}

void Error_Handler(void)
{
  __disable_irq();
  while (1)
  {
  }
}
